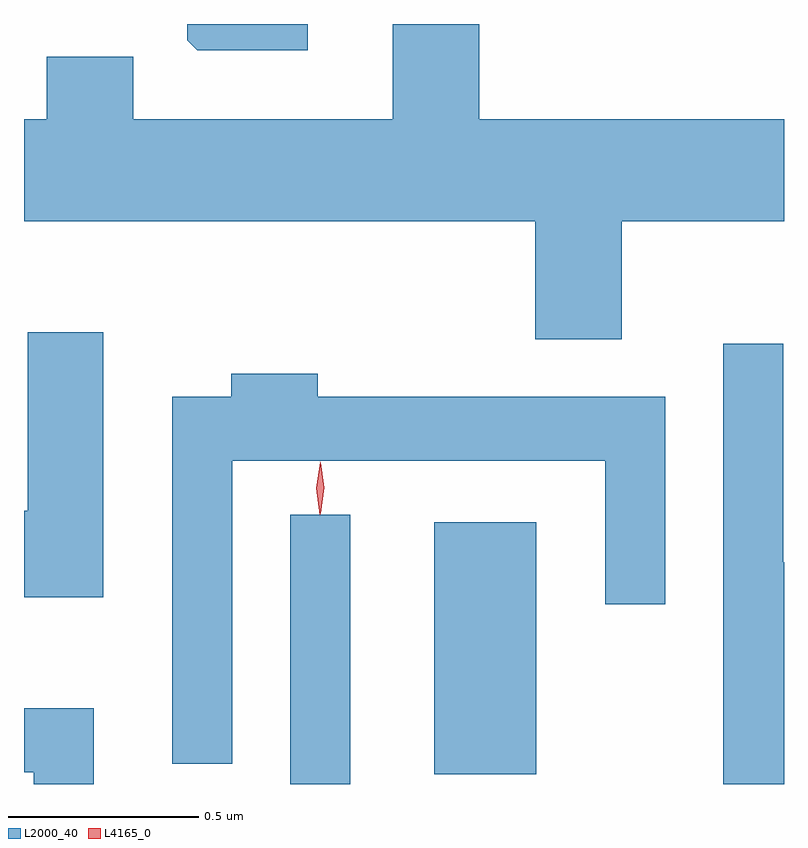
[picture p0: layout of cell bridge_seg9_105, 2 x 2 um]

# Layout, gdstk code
import gdstk
lib = gdstk.Library(unit=1e-6, precision=1e-09)
def R(c, l, rs):  # rectangles x0, y0, x1, y1
    for r in rs: c.add(gdstk.rectangle(r[:2], r[2:], *l))
def P(c, l, *ps):  # polygons
    for p in ps: c.add(gdstk.Polygon(p, *l))
L2000_40 = (2000, 40)
L4165_0 = (4165, 0)

bridge_seg9_105 = lib.new_cell('bridge_seg9_105')
R(bridge_seg9_105, L2000_40, [(1751.116,1981.455,1751.274,1982.163), (1751.496,1981.481,1751.764,1982.144)])
P(bridge_seg9_105, L2000_40, [(1751.989,1982.936),(1752.416,1982.936),(1752.416,1983.204),(1751.614,1983.204),(1751.614,1983.455),(1751.386,1983.455),(1751.386,1983.204),(1750.704,1983.204),(1750.704,1983.369),(1750.476,1983.369),(1750.476,1983.204),(1750.416,1983.204),(1750.416,1982.936),(1751.761,1982.936),(1751.761,1982.626),(1751.989,1982.626)],
  [(1751.163,1983.455),(1750.846,1983.455),(1750.846,1983.412),(1750.872,1983.386),(1751.163,1983.386)],
  [(1750.624,1982.644),(1750.426,1982.644),(1750.426,1982.174),(1750.416,1982.174),(1750.416,1981.946),(1750.624,1981.946)],
  [(1752.416,1982.039),(1752.414,1982.039),(1752.414,1982.613),(1752.256,1982.613),(1752.256,1981.455),(1752.416,1981.455)],
  [(1750.964,1982.306),(1751.946,1982.306),(1751.946,1981.928),(1752.104,1981.928),(1752.104,1982.474),(1751.189,1982.474),(1751.189,1982.534),(1750.961,1982.534),(1750.961,1982.474),(1750.806,1982.474),(1750.806,1981.508),(1750.964,1981.508)],
  [(1750.599,1981.654),(1750.416,1981.654),(1750.416,1981.486),(1750.441,1981.486),(1750.441,1981.455),(1750.599,1981.455)])
P(bridge_seg9_105, L4165_0, [(1751.194,1982.164),(1751.185,1982.233),(1751.195,1982.302),(1751.196,1982.303),(1751.196,1982.302),(1751.205,1982.233),(1751.195,1982.164),(1751.195,1982.164)],
  [(1751.196,1982.167),(1751.196,1982.167),(1751.186,1982.234),(1751.196,1982.3),(1751.196,1982.301),(1751.197,1982.3),(1751.206,1982.234),(1751.197,1982.167)])

lib.write_gds('bridge_seg9_105.gds')
